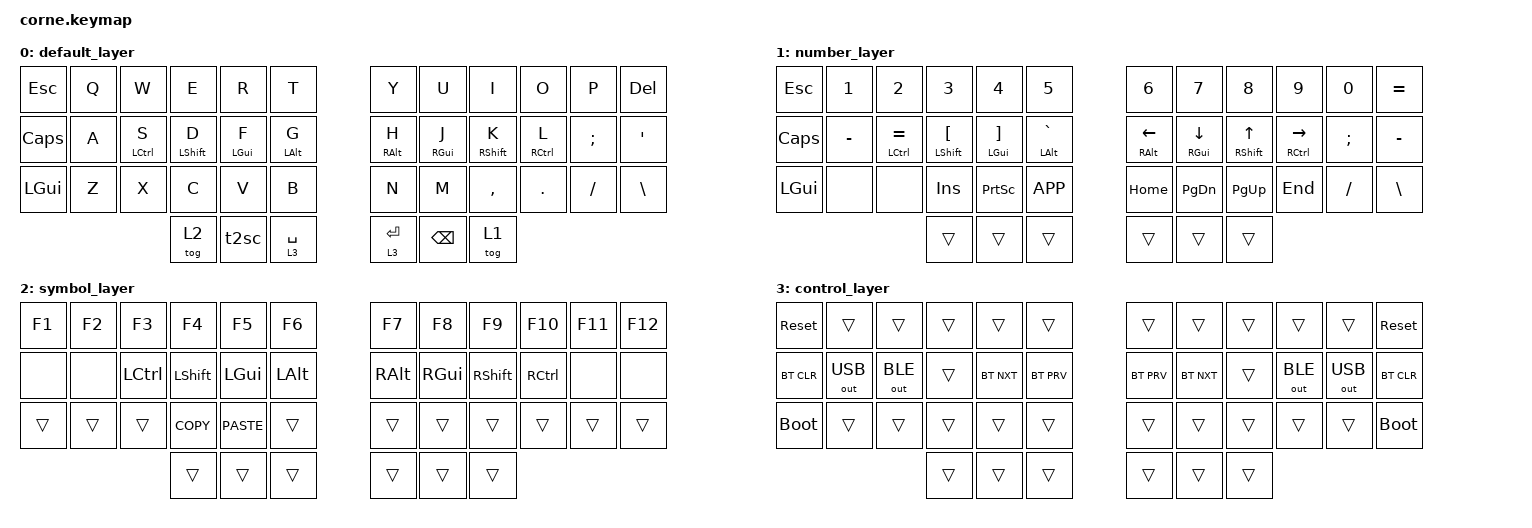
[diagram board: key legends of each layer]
/*
 * Copyright (c) 2020 The ZMK Contributors
 *
 * SPDX-License-Identifier: MIT
 */

#include <behaviors.dtsi>
#include <dt-bindings/zmk/keys.h>
#include <dt-bindings/zmk/bt.h>
#include <dt-bindings/zmk/outputs.h>

/ {
    chosen {
        zmk,matrix-transform = &default_transform;
        // zmk,matrix-transform = &five_column_transform;
    };
};


// Behavior Overrides

&mt {
  retro-tap;
  label = "Mod Tap";
  tapping-term-ms = <120>;
  flavor = "tap-preferred";
  bindings = <&kp>, <&kp>;
};

&sk {
    release-after-ms = <2000>;
    quick-release;
};

&caps_word {
    continue-list = <UNDERSCORE MINUS>;
};

// Macros

/ {
  macros {

    mls: macro_layer_shift {
      compatible = "zmk,behavior-macro-one-param";
      wait-ms = <0>;
      tap-ms = <0>;
      #binding-cells = <1>;
      bindings
        = <&macro_param_1to1>
        , <&macro_press &mo MACRO_PLACEHOLDER &kp LSHFT>
        , <&macro_pause_for_release>
        , <&macro_param_1to1>
        , <&macro_release &mo MACRO_PLACEHOLDER &kp LSHFT>
        ;
    };

  };
};

// Behaviors

/ {
  behaviors {

    // Hold Tap
    htls: hold_tap_layer_shift {
        compatible = "zmk,behavior-hold-tap";
        #binding-cells = <2>;
        flavor = "tap-preferred";
        tapping-term-ms = <180>;
        quick-tap-ms = <180>;
        bindings = <&mls>, <&kp>;
    };
    // -------------------------------------

    // Left thumb 2
    t2sc: tap_dance_shift_capsword {
      compatible = "zmk,behavior-tap-dance";
      #binding-cells = <0>;
      tapping-term-ms = <180>;
      bindings = <&sk LSHFT>, <&caps_word>;
    };

    // Right thumb 3
    t6dn: tap_dance_delete_number {
      compatible = "zmk,behavior-tap-dance";
      #binding-cells = <0>;
      tapping-term-ms = <180>;
      bindings = <&kp DEL>, <&tog 1>;
    };
    // -------------------------------------

  };
};

// Combos

/ {
  combos {
    compatible = "zmk,combos";

    combo_tab {
      timeout-ms = <50>;
      key-positions = <15 16>;
      bindings = <&kp TAB>;
    };

    combo_sqt {
      timeout-ms = <50>;
      key-positions = <21 22>;
      bindings = <&kp SQT>;
    };

 };
};

/ {
  keymap {
    compatible = "zmk,keymap";
    default_layer {
      bindings = <
&kp ESC  &kp Q &kp W       &kp E        &kp R      &kp T        &kp Y      &kp U      &kp I        &kp O       &kp P    &kp DEL
&kp CAPS &kp A &mt LCTRL S &mt LSHFT D  &mt LGUI F &mt LALT G   &mt RALT H &mt RGUI J &mt RSHFT K  &mt RCTRL L &kp SEMI &kp SQT
&kp LGUI &kp Z &kp X       &kp C        &kp V      &kp B        &kp N      &kp M      &kp COMMA    &kp DOT     &kp FSLH &kp BSLH
                        &tog 2    &t2sc      &lt 3 SPACE    &lt 3 RET  &kp BSPC   &tog 1
      >;
    };

    number_layer {
      bindings = <
&kp ESC   &kp N1    &kp N2          &kp N3           &kp N4        &kp N5           &kp N6        &kp N7         &kp N8       &kp N9          &kp N0   &kp EQUAL
&kp CAPS  &kp MINUS &mt LCTRL EQUAL &mt LSHFT LBKT   &mt LGUI RBKT &mt LALT GRAVE   &mt RALT LEFT &mt RGUI DOWN  &mt RSHFT UP &mt RCTRL RIGHT &kp SEMI &kp MINUS
&kp LGUI  &none     &none           &kp INS          &kp PSCRN     &kp K_APP        &kp HOME      &kp PG_DN      &kp PG_UP    &kp END         &kp FSLH &kp BSLH
                        &trans    &trans      &trans    &trans  &trans   &trans
      >;
    };

    symbol_layer {
      bindings = <
&kp F1  &kp F2        &kp F3        &kp F4     &kp F5      &kp F6       &kp F7      &kp F8   &kp F9    &kp F10   &kp F11    &kp F12
&none   &none         &kp LCTRL     &kp LSHFT  &kp LGUI    &kp LALT     &kp RALT    &kp RGUI &kp RSHFT &kp RCTRL &none      &none
&trans   &trans  &trans  &kp K_COPY &kp K_PASTE &trans   &trans  &trans    &trans     &trans     &trans &trans
                        &trans    &trans      &trans    &trans  &trans   &trans
      >;
    };

    control_layer {
      bindings = <
&sys_reset &trans &trans &trans &trans &trans &trans &trans &trans &trans &trans &sys_reset
&bt BT_CLR &out OUT_USB &out OUT_BLE &trans &bt BT_NXT &bt BT_PRV &bt BT_PRV &bt BT_NXT &trans &out OUT_BLE &out OUT_USB &bt BT_CLR
&bootloader &trans &trans &trans &trans &trans &trans &trans &trans &trans &trans &bootloader
                        &trans    &trans      &trans    &trans  &trans   &trans
      >;
    };
  };
};
